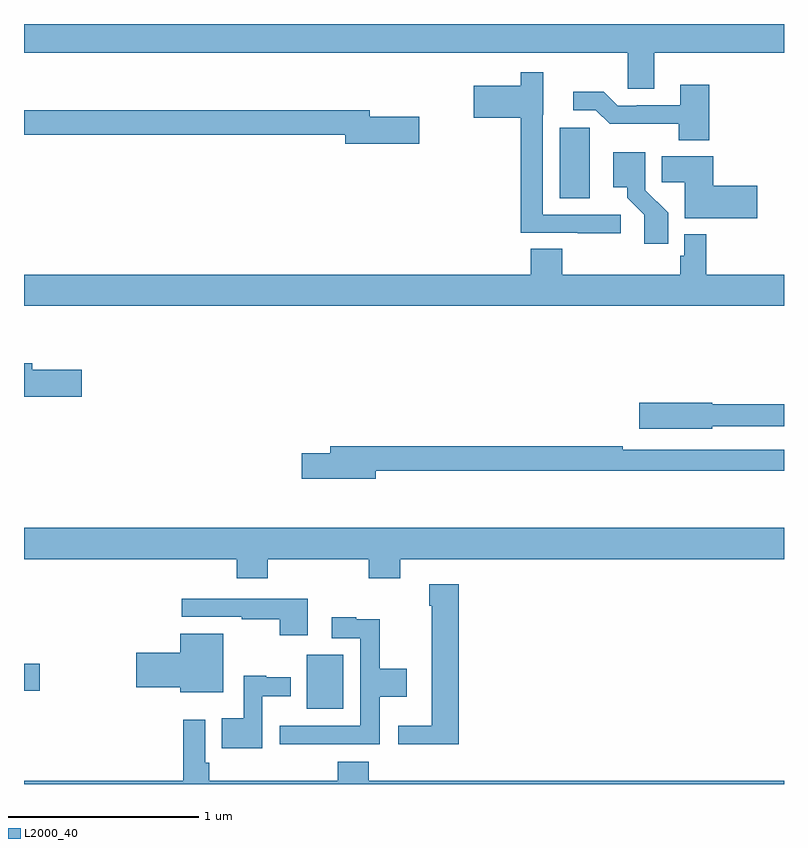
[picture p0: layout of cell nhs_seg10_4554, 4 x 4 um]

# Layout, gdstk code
import gdstk
lib = gdstk.Library(unit=1e-6, precision=1e-09)
def R(c, l, rs):  # rectangles x0, y0, x1, y1
    for r in rs: c.add(gdstk.rectangle(r[:2], r[2:], *l))
def P(c, l, *ps):  # polygons
    for p in ps: c.add(gdstk.Polygon(p, *l))
L2000_40 = (2000, 40)

nhs_seg10_4554 = lib.new_cell('nhs_seg10_4554')
R(nhs_seg10_4554, L2000_40, [(372.488,1264.895,372.679,1265.179), (371,1264.99,371.083,1265.132), (373.82,1267.582,373.978,1267.953)])
P(nhs_seg10_4554, L2000_40, [(374.317,1268.348),(375,1268.348),(375,1268.5),(371,1268.5),(371,1268.348),(374.178,1268.348),(374.178,1268.158),(374.317,1268.158)],
  [(374.14,1267.497),(373.731,1267.497),(373.731,1268.022),(373.732,1268.022),(373.732,1268.245),(373.615,1268.245),(373.615,1268.176),(373.368,1268.176),(373.368,1268.006),(373.615,1268.006),(373.615,1267.401),(373.915,1267.401),(373.915,1267.399),(374.14,1267.399)],
  [(374.606,1268.179),(374.453,1268.179),(374.453,1268.073),(374.224,1268.073),(374.224,1268.07),(374.124,1268.07),(374.051,1268.143),(373.89,1268.143),(373.89,1268.046),(374.01,1268.046),(374.083,1267.974),(374.446,1267.974),(374.446,1267.889),(374.606,1267.889)],
  [(373.081,1268.013),(372.82,1268.013),(372.82,1268.047),(371,1268.047),(371,1267.918),(372.692,1267.918),(372.692,1267.871),(373.081,1267.871)],
  [(374.39,1267.506),(374.271,1267.625),(374.271,1267.776),(374.269,1267.776),(374.269,1267.825),(374.102,1267.825),(374.102,1267.64),(374.174,1267.64),(374.174,1267.585),(374.265,1267.495),(374.265,1267.344),(374.39,1267.344)],
  [(374.86,1267.649),(374.627,1267.649),(374.627,1267.804),(374.356,1267.804),(374.356,1267.666),(374.477,1267.666),(374.477,1267.478),(374.86,1267.478)],
  [(375,1267.18),(374.591,1267.18),(374.591,1267.393),(374.475,1267.393),(374.475,1267.281),(374.455,1267.281),(374.455,1267.18),(373.832,1267.18),(373.832,1267.316),(373.667,1267.316),(373.667,1267.18),(371,1267.18),(371,1267.016),(375,1267.016)],
  [(371.305,1266.681),(371.044,1266.681),(371.044,1266.715),(371,1266.715),(371,1266.539),(371.305,1266.539)],
  [(374.622,1266.384),(375,1266.384),(375,1266.5),(374.622,1266.5),(374.622,1266.506),(374.238,1266.506),(374.238,1266.371),(374.622,1266.371)],
  [(372.85,1266.15),(375,1266.15),(375,1266.258),(374.15,1266.258),(374.15,1266.278),(372.611,1266.278),(372.611,1266.242),(372.462,1266.242),(372.462,1266.107),(372.85,1266.107)],
  [(372.284,1265.684),(372.815,1265.684),(372.815,1265.582),(372.98,1265.582),(372.98,1265.684),(375,1265.684),(375,1265.848),(371,1265.848),(371,1265.684),(372.119,1265.684),(372.119,1265.582),(372.284,1265.582)],
  [(373.289,1265.551),(373.133,1265.551),(373.133,1265.438),(373.145,1265.438),(373.145,1264.807),(372.969,1264.807),(372.969,1264.709),(373.289,1264.709)],
  [(372.493,1265.475),(371.829,1265.475),(371.829,1265.379),(372.145,1265.379),(372.145,1265.367),(372.346,1265.367),(372.346,1265.283),(372.493,1265.283)],
  [(372.566,1264.71),(372.872,1264.71),(372.872,1264.958),(373.015,1264.958),(373.015,1265.106),(372.872,1265.106),(372.872,1265.366),(372.749,1265.366),(372.749,1265.377),(372.621,1265.377),(372.621,1265.268),(372.771,1265.268),(372.771,1264.806),(372.345,1264.806),(372.345,1264.709),(372.566,1264.709)],
  [(372.049,1265.29),(371.822,1265.29),(371.822,1265.192),(371.592,1265.192),(371.592,1265.009),(371.822,1265.009),(371.822,1264.982),(372.049,1264.982)],
  [(372.255,1264.961),(372.403,1264.961),(372.403,1265.061),(372.276,1265.061),(372.276,1265.071),(372.156,1265.071),(372.156,1264.846),(372.04,1264.846),(372.04,1264.688),(372.255,1264.688)],
  [(375,1264.516),(372.815,1264.516),(372.815,1264.618),(372.65,1264.618),(372.65,1264.516),(371.975,1264.516),(371.975,1264.612),(371.955,1264.612),(371.955,1264.837),(371.839,1264.837),(371.839,1264.516),(371,1264.516),(371,1264.5),(375,1264.5)])

lib.write_gds('nhs_seg10_4554.gds')
